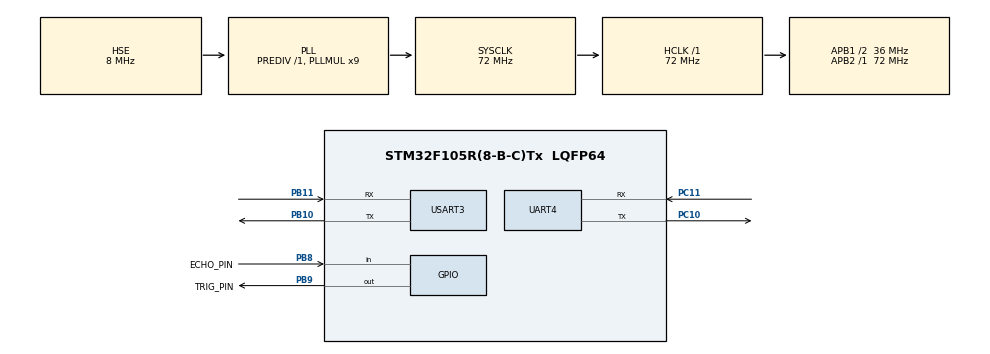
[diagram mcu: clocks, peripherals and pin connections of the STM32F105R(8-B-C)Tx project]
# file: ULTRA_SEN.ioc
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Mcu.Family=STM32F1
Mcu.Name=STM32F105R(8-B-C)Tx
Mcu.Package=LQFP64
NVIC.PriorityGroup=NVIC_PRIORITYGROUP_4
PA13.Mode=Serial_Wire
PA13.Signal=SYS_JTMS-SWDIO
PA14.Mode=Serial_Wire
PA14.Signal=SYS_JTCK-SWCLK
PB10.Mode=Asynchronous
PB10.Signal=USART3_TX
PB11.Mode=Asynchronous
PB11.Signal=USART3_RX
PB8.GPIO_Label=ECHO_PIN
PB8.Signal=GPIO_Input
PB9.GPIO_Label=TRIG_PIN
PB9.Signal=GPIO_Output
PC10.Mode=Asynchronous
PC10.Signal=UART4_TX
PC11.Mode=Asynchronous
PC11.Signal=UART4_RX
PD0-OSC_IN.Mode=HSE-External-Oscillator
PD0-OSC_IN.Signal=RCC_OSC_IN
PD1-OSC_OUT.Mode=HSE-External-Oscillator
PD1-OSC_OUT.Signal=RCC_OSC_OUT
ProjectManager.HeapSize=0x200
ProjectManager.StackSize=0x400
ProjectManager.TargetToolchain=STM32CubeIDE
RCC.AHBFreq_Value=72000000
RCC.APB1CLKDivider=RCC_HCLK_DIV2
RCC.APB1Freq_Value=36000000
RCC.APB1TimFreq_Value=72000000
RCC.APB2Freq_Value=72000000
RCC.APB2TimFreq_Value=72000000
RCC.HCLKFreq_Value=72000000
RCC.PLLMUL=RCC_PLL_MUL9
RCC.PLLSourceVirtual=RCC_PLLSOURCE_HSE
RCC.SYSCLKFreq_VALUE=72000000
RCC.SYSCLKSource=RCC_SYSCLKSOURCE_PLLCLK
RCC.USBFreq_Value=48000000
TIM4.Channel-Output\ Compare3\ No\ Output=TIM_CHANNEL_3
UART4.VirtualMode=Asynchronous
USART3.VirtualMode=VM_ASYNC
VP_TIM1_VS_ClockSourceINT.Mode=Internal
VP_TIM2_VS_ClockSourceINT.Mode=Internal
VP_TIM3_VS_ClockSourceINT.Mode=Internal
VP_TIM4_VS_no_output3.Mode=Output Compare3 No Output
board=custom

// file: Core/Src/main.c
/* USER CODE BEGIN Header */
/**
  ******************************************************************************
  * @file           : main.c
  * @brief          : Main program body
  ******************************************************************************
  * @attention
  *
  * Copyright (c) 2025 STMicroelectronics.
  * All rights reserved.
  *
  * This software is licensed under terms that can be found in the LICENSE file
  * in the root directory of this software component.
  * If no LICENSE file comes with this software, it is provided AS-IS.
  *
  ******************************************************************************
  */
/* USER CODE END Header */
#include "main.h"

/* USER CODE BEGIN Includes */

#include "stdio.h"
#include "string.h"

#define TRIG_PIN GPIO_PIN_9
#define TRIG_PORT GPIOB
#define ECHO_PIN GPIO_PIN_8
#define ECHO_PORT GPIOB

uint32_t pMillis;
uint32_t Value1 = 0;
uint32_t Value2 = 0;
uint16_t Distance  = 0;  // cm
/* USER CODE END Includes */

TIM_HandleTypeDef htim1;
TIM_HandleTypeDef htim2;
TIM_HandleTypeDef htim3;
TIM_HandleTypeDef htim4;

UART_HandleTypeDef huart4;
UART_HandleTypeDef huart3;

void SystemClock_Config(void);
static void MX_GPIO_Init(void);
static void MX_TIM2_Init(void);
static void MX_USART3_UART_Init(void);
static void MX_UART4_Init(void);
static void MX_TIM1_Init(void);
static void MX_TIM4_Init(void);
static void MX_TIM3_Init(void);

/* USER CODE BEGIN 0 */
// Microsecond delay function using TIM2
void delay_us(uint16_t us) {
    __HAL_TIM_SET_COUNTER(&htim2, 0);
    while (__HAL_TIM_GET_COUNTER(&htim2) < us);
}

// Send 10µs trigger pulse
void trigger_ultrasonic() {
    HAL_GPIO_WritePin(TRIG_PORT, TRIG_PIN, GPIO_PIN_SET);
    delay_us(10);
    HAL_GPIO_WritePin(TRIG_PORT, TRIG_PIN, GPIO_PIN_RESET);
}

// Measure echo pulse width in microseconds
uint32_t measure_echo_time() {
    uint32_t start = 0, stop = 0;

    while (HAL_GPIO_ReadPin(ECHO_PORT, ECHO_PIN) == GPIO_PIN_RESET);
    start = __HAL_TIM_GET_COUNTER(&htim2);

    while (HAL_GPIO_ReadPin(ECHO_PORT, ECHO_PIN) == GPIO_PIN_SET);
    stop = __HAL_TIM_GET_COUNTER(&htim2);

    return (stop - start);
}

// Convert echo time to distance in cm
float calculate_distance(uint32_t time_us) {
    return (time_us * 0.0343) / 2;
}
/* USER CODE END 0 */

int main(void)
{

  /* MCU Configuration--------------------------------------------------------*/

  /* Reset of all peripherals, Initializes the Flash interface and the Systick. */
  HAL_Init();

  /* Configure the system clock */
  SystemClock_Config();

  /* Initialize all configured peripherals */
  MX_GPIO_Init();
  MX_TIM2_Init();
  MX_USART3_UART_Init();
  MX_UART4_Init();
  MX_TIM1_Init();
  MX_TIM4_Init();
  MX_TIM3_Init();
  /* USER CODE BEGIN 2 */
  printf("code start...\r\n");
  HAL_TIM_Base_Start(&htim1);
  HAL_GPIO_WritePin(TRIG_PORT, TRIG_PIN, GPIO_PIN_RESET);  // pull the TRIG pin low
  /* USER CODE END 2 */

  /* Infinite loop */
  while(1)
  {

    /* USER CODE BEGIN 3 */
	   printf("running\r\n");
	   HAL_GPIO_WritePin(TRIG_PORT, TRIG_PIN, GPIO_PIN_SET);  // pull the TRIG pin HIGH
	    __HAL_TIM_SET_COUNTER(&htim1, 0);
	    while (__HAL_TIM_GET_COUNTER (&htim1) < 10);  // wait for 10 us
	    HAL_GPIO_WritePin(TRIG_PORT, TRIG_PIN, GPIO_PIN_RESET);  // pull the TRIG pin low

	    pMillis = HAL_GetTick(); // used this to avoid infinite while loop  (for timeout)
	    // wait for the echo pin to go high
	    while (!(HAL_GPIO_ReadPin (ECHO_PORT, ECHO_PIN)) && pMillis + 10 >  HAL_GetTick());
	    Value1 = __HAL_TIM_GET_COUNTER (&htim1);

	    pMillis = HAL_GetTick(); // used this to avoid infinite while loop (for timeout)
	    // wait for the echo pin to go low
	    while ((HAL_GPIO_ReadPin (ECHO_PORT, ECHO_PIN)) && pMillis + 50 > HAL_GetTick());
	    Value2 = __HAL_TIM_GET_COUNTER (&htim1);

	    Distance = (Value2-Value1)* 0.034/2;

	    printf("dis = %d\r\n",Distance);
	    HAL_Delay(50);

  }
  /* USER CODE END 3 */
}

void SystemClock_Config(void)
{
  RCC_OscInitTypeDef RCC_OscInitStruct = {0};
  RCC_ClkInitTypeDef RCC_ClkInitStruct = {0};

  /** Initializes the RCC Oscillators according to the specified parameters
  * in the RCC_OscInitTypeDef structure.
  */
  RCC_OscInitStruct.OscillatorType = RCC_OSCILLATORTYPE_HSE;
  RCC_OscInitStruct.HSEState = RCC_HSE_ON;
  RCC_OscInitStruct.HSEPredivValue = RCC_HSE_PREDIV_DIV1;
  RCC_OscInitStruct.HSIState = RCC_HSI_ON;
  RCC_OscInitStruct.Prediv1Source = RCC_PREDIV1_SOURCE_HSE;
  RCC_OscInitStruct.PLL.PLLState = RCC_PLL_ON;
  RCC_OscInitStruct.PLL.PLLSource = RCC_PLLSOURCE_HSE;
  RCC_OscInitStruct.PLL.PLLMUL = RCC_PLL_MUL9;
  RCC_OscInitStruct.PLL2.PLL2State = RCC_PLL_NONE;
  if (HAL_RCC_OscConfig(&RCC_OscInitStruct) != HAL_OK)
  {
    Error_Handler();
  }

  /** Initializes the CPU, AHB and APB buses clocks
  */
  RCC_ClkInitStruct.ClockType = RCC_CLOCKTYPE_HCLK|RCC_CLOCKTYPE_SYSCLK
                              |RCC_CLOCKTYPE_PCLK1|RCC_CLOCKTYPE_PCLK2;
  RCC_ClkInitStruct.SYSCLKSource = RCC_SYSCLKSOURCE_PLLCLK;
  RCC_ClkInitStruct.AHBCLKDivider = RCC_SYSCLK_DIV1;
  RCC_ClkInitStruct.APB1CLKDivider = RCC_HCLK_DIV2;
  RCC_ClkInitStruct.APB2CLKDivider = RCC_HCLK_DIV1;

  if (HAL_RCC_ClockConfig(&RCC_ClkInitStruct, FLASH_LATENCY_2) != HAL_OK)
  {
    Error_Handler();
  }

  /** Configure the Systick interrupt time
  */
  __HAL_RCC_PLLI2S_ENABLE();
}

static void MX_TIM1_Init(void)
{

  TIM_ClockConfigTypeDef sClockSourceConfig = {0};
  TIM_MasterConfigTypeDef sMasterConfig = {0};

  htim1.Instance = TIM1;
  htim1.Init.Prescaler = 0;
  htim1.Init.CounterMode = TIM_COUNTERMODE_UP;
  htim1.Init.Period = 65535;
  htim1.Init.ClockDivision = TIM_CLOCKDIVISION_DIV1;
  htim1.Init.RepetitionCounter = 0;
  htim1.Init.AutoReloadPreload = TIM_AUTORELOAD_PRELOAD_DISABLE;
  if (HAL_TIM_Base_Init(&htim1) != HAL_OK)
  {
    Error_Handler();
  }
  sClockSourceConfig.ClockSource = TIM_CLOCKSOURCE_INTERNAL;
  if (HAL_TIM_ConfigClockSource(&htim1, &sClockSourceConfig) != HAL_OK)
  {
    Error_Handler();
  }
  sMasterConfig.MasterOutputTrigger = TIM_TRGO_RESET;
  sMasterConfig.MasterSlaveMode = TIM_MASTERSLAVEMODE_DISABLE;
  if (HAL_TIMEx_MasterConfigSynchronization(&htim1, &sMasterConfig) != HAL_OK)
  {
    Error_Handler();
  }

}

static void MX_TIM2_Init(void)
{

  TIM_ClockConfigTypeDef sClockSourceConfig = {0};
  TIM_MasterConfigTypeDef sMasterConfig = {0};

  htim2.Instance = TIM2;
  htim2.Init.Prescaler = 0;
  htim2.Init.CounterMode = TIM_COUNTERMODE_UP;
  htim2.Init.Period = 65535;
  htim2.Init.ClockDivision = TIM_CLOCKDIVISION_DIV1;
  htim2.Init.AutoReloadPreload = TIM_AUTORELOAD_PRELOAD_DISABLE;
  if (HAL_TIM_Base_Init(&htim2) != HAL_OK)
  {
    Error_Handler();
  }
  sClockSourceConfig.ClockSource = TIM_CLOCKSOURCE_INTERNAL;
  if (HAL_TIM_ConfigClockSource(&htim2, &sClockSourceConfig) != HAL_OK)
  {
    Error_Handler();
  }
  sMasterConfig.MasterOutputTrigger = TIM_TRGO_RESET;
  sMasterConfig.MasterSlaveMode = TIM_MASTERSLAVEMODE_DISABLE;
  if (HAL_TIMEx_MasterConfigSynchronization(&htim2, &sMasterConfig) != HAL_OK)
  {
    Error_Handler();
  }

}

static void MX_TIM3_Init(void)
{

  TIM_ClockConfigTypeDef sClockSourceConfig = {0};
  TIM_MasterConfigTypeDef sMasterConfig = {0};

  htim3.Instance = TIM3;
  htim3.Init.Prescaler = 0;
  htim3.Init.CounterMode = TIM_COUNTERMODE_UP;
  htim3.Init.Period = 65535;
  htim3.Init.ClockDivision = TIM_CLOCKDIVISION_DIV1;
  htim3.Init.AutoReloadPreload = TIM_AUTORELOAD_PRELOAD_DISABLE;
  if (HAL_TIM_Base_Init(&htim3) != HAL_OK)
  {
    Error_Handler();
  }
  sClockSourceConfig.ClockSource = TIM_CLOCKSOURCE_INTERNAL;
  if (HAL_TIM_ConfigClockSource(&htim3, &sClockSourceConfig) != HAL_OK)
  {
    Error_Handler();
  }
  sMasterConfig.MasterOutputTrigger = TIM_TRGO_RESET;
  sMasterConfig.MasterSlaveMode = TIM_MASTERSLAVEMODE_DISABLE;
  if (HAL_TIMEx_MasterConfigSynchronization(&htim3, &sMasterConfig) != HAL_OK)
  {
    Error_Handler();
  }

}

static void MX_TIM4_Init(void)
{

  TIM_MasterConfigTypeDef sMasterConfig = {0};
  TIM_OC_InitTypeDef sConfigOC = {0};

  htim4.Instance = TIM4;
  htim4.Init.Prescaler = 0;
  htim4.Init.CounterMode = TIM_COUNTERMODE_UP;
  htim4.Init.Period = 65535;
  htim4.Init.ClockDivision = TIM_CLOCKDIVISION_DIV1;
  htim4.Init.AutoReloadPreload = TIM_AUTORELOAD_PRELOAD_DISABLE;
  if (HAL_TIM_OC_Init(&htim4) != HAL_OK)
  {
    Error_Handler();
  }
  sMasterConfig.MasterOutputTrigger = TIM_TRGO_RESET;
  sMasterConfig.MasterSlaveMode = TIM_MASTERSLAVEMODE_DISABLE;
  if (HAL_TIMEx_MasterConfigSynchronization(&htim4, &sMasterConfig) != HAL_OK)
  {
    Error_Handler();
  }
  sConfigOC.OCMode = TIM_OCMODE_TIMING;
  sConfigOC.Pulse = 0;
  sConfigOC.OCPolarity = TIM_OCPOLARITY_HIGH;
  sConfigOC.OCFastMode = TIM_OCFAST_DISABLE;
  if (HAL_TIM_OC_ConfigChannel(&htim4, &sConfigOC, TIM_CHANNEL_3) != HAL_OK)
  {
    Error_Handler();
  }

}

static void MX_UART4_Init(void)
{

  huart4.Instance = UART4;
  huart4.Init.BaudRate = 115200;
  huart4.Init.WordLength = UART_WORDLENGTH_8B;
  huart4.Init.StopBits = UART_STOPBITS_1;
  huart4.Init.Parity = UART_PARITY_NONE;
  huart4.Init.Mode = UART_MODE_TX_RX;
  huart4.Init.HwFlowCtl = UART_HWCONTROL_NONE;
  huart4.Init.OverSampling = UART_OVERSAMPLING_16;
  if (HAL_UART_Init(&huart4) != HAL_OK)
  {
    Error_Handler();
  }

}

static void MX_USART3_UART_Init(void)
{

  huart3.Instance = USART3;
  huart3.Init.BaudRate = 115200;
  huart3.Init.WordLength = UART_WORDLENGTH_8B;
  huart3.Init.StopBits = UART_STOPBITS_1;
  huart3.Init.Parity = UART_PARITY_NONE;
  huart3.Init.Mode = UART_MODE_TX_RX;
  huart3.Init.HwFlowCtl = UART_HWCONTROL_NONE;
  huart3.Init.OverSampling = UART_OVERSAMPLING_16;
  if (HAL_UART_Init(&huart3) != HAL_OK)
  {
    Error_Handler();
  }

}

static void MX_GPIO_Init(void)
{
  GPIO_InitTypeDef GPIO_InitStruct = {0};

  /* GPIO Ports Clock Enable */
  __HAL_RCC_GPIOD_CLK_ENABLE();
  __HAL_RCC_GPIOB_CLK_ENABLE();
  __HAL_RCC_GPIOA_CLK_ENABLE();
  __HAL_RCC_GPIOC_CLK_ENABLE();

  /*Configure GPIO pin Output Level */
  HAL_GPIO_WritePin(TRIG_PIN_GPIO_Port, TRIG_PIN_Pin, GPIO_PIN_RESET);

  /*Configure GPIO pin : ECHO_PIN_Pin */
  GPIO_InitStruct.Pin = ECHO_PIN_Pin;
  GPIO_InitStruct.Mode = GPIO_MODE_INPUT;
  GPIO_InitStruct.Pull = GPIO_NOPULL;
  HAL_GPIO_Init(ECHO_PIN_GPIO_Port, &GPIO_InitStruct);

  /*Configure GPIO pin : TRIG_PIN_Pin */
  GPIO_InitStruct.Pin = TRIG_PIN_Pin;
  GPIO_InitStruct.Mode = GPIO_MODE_OUTPUT_PP;
  GPIO_InitStruct.Pull = GPIO_NOPULL;
  GPIO_InitStruct.Speed = GPIO_SPEED_FREQ_LOW;
  HAL_GPIO_Init(TRIG_PIN_GPIO_Port, &GPIO_InitStruct);

}

/* USER CODE BEGIN 4 */
int __io_putchar(int ch)
{
	HAL_UART_Transmit(&huart4,(uint8_t*)&ch,1,0xFFFF);
	return ch;

}
/* USER CODE END 4 */

void Error_Handler(void)
{
  __disable_irq();
  while (1)
  {
  }
}
